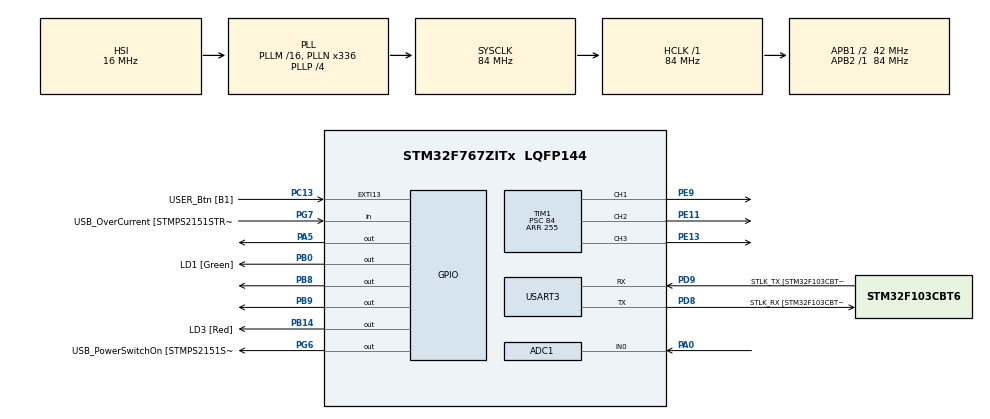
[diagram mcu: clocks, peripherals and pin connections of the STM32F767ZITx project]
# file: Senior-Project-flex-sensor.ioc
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ADC1.Channel-0\#ChannelRegularConversion=ADC_CHANNEL_0
ADC1.ContinuousConvMode=ENABLE
ADC1.EOCSelection=ADC_EOC_SEQ_CONV
ADC1.NbrOfConversionFlag=1
ADC1.Rank-0\#ChannelRegularConversion=1
ADC1.SamplingTime-0\#ChannelRegularConversion=ADC_SAMPLETIME_3CYCLES
ADC1.master=1
Mcu.Family=STM32F7
Mcu.Name=STM32F767ZITx
Mcu.Package=LQFP144
NVIC.PriorityGroup=NVIC_PRIORITYGROUP_4
PA0/WKUP.Signal=ADCx_IN0
PA1.GPIO_Label=RMII_REF_CLK [LAN8742A-CZ-TR_REFCLK0]
PA1.Signal=ETH_REF_CLK
PA10.GPIO_Label=USB_ID
PA10.Signal=USB_OTG_FS_ID
PA11.GPIO_Label=USB_DM
PA11.Signal=USB_OTG_FS_DM
PA12.GPIO_Label=USB_DP
PA12.Signal=USB_OTG_FS_DP
PA13.GPIO_Label=TMS
PA13.Signal=SYS_JTMS-SWDIO
PA14.GPIO_Label=TCK
PA14.Signal=SYS_JTCK-SWCLK
PA2.GPIO_Label=RMII_MDIO [LAN8742A-CZ-TR_MDIO]
PA2.Signal=ETH_MDIO
PA5.Signal=GPIO_Output
PA7.GPIO_Label=RMII_CRS_DV [LAN8742A-CZ-TR_CRS_DV]
PA7.Signal=ETH_CRS_DV
PA8.GPIO_Label=USB_SOF [TP1]
PA8.Signal=USB_OTG_FS_SOF
PA9.GPIO_Label=USB_VBUS
PA9.Signal=USB_OTG_FS_VBUS
PB0.GPIO_Label=LD1 [Green]
PB0.Signal=GPIO_Output
PB13.GPIO_Label=RMII_TXD1 [LAN8742A-CZ-TR_TXD1]
PB13.Signal=ETH_TXD1
PB14.GPIO_Label=LD3 [Red]
PB14.Signal=GPIO_Output
PB3.GPIO_Label=SW0
PB3.Signal=SYS_JTDO-SWO
PB8.Signal=GPIO_Output
PB9.Signal=GPIO_Output
PC1.GPIO_Label=RMII_MDC [LAN8742A-CZ-TR_MDC]
PC1.Signal=ETH_MDC
PC13.GPIO_Label=USER_Btn [B1]
PC13.Signal=GPXTI13
PC14/OSC32_IN.Signal=RCC_OSC32_IN
PC15/OSC32_OUT.Signal=RCC_OSC32_OUT
PC4.GPIO_Label=RMII_RXD0 [LAN8742A-CZ-TR_RXD0]
PC4.Signal=ETH_RXD0
PC5.GPIO_Label=RMII_RXD1 [LAN8742A-CZ-TR_RXD1]
PC5.Signal=ETH_RXD1
PD8.GPIO_Label=STLK_RX [STM32F103CBT6_PA3]
PD8.Mode=Asynchronous
PD8.Signal=USART3_TX
PD9.GPIO_Label=STLK_TX [STM32F103CBT6_PA2]
PD9.Mode=Asynchronous
PD9.Signal=USART3_RX
PE11.Signal=S_TIM1_CH2
PE13.Signal=S_TIM1_CH3
PE9.Signal=S_TIM1_CH1
PG11.GPIO_Label=RMII_TX_EN [LAN8742A-CZ-TR_TXEN]
PG11.Signal=ETH_TX_EN
PG13.GPIO_Label=RMII_TXD0 [LAN8742A-CZ-TR_TXD0]
PG13.Signal=ETH_TXD0
PG6.GPIO_Label=USB_PowerSwitchOn [STMPS2151STR_EN]
PG6.Signal=GPIO_Output
PG7.GPIO_Label=USB_OverCurrent [STMPS2151STR_FAULT]
PG7.Signal=GPIO_Input
PH0/OSC_IN.GPIO_Label=MCO [STM32F103CBT6_PA8]
PH0/OSC_IN.Signal=RCC_OSC_IN
PH1/OSC_OUT.Signal=RCC_OSC_OUT
ProjectManager.HeapSize=0x200
ProjectManager.StackSize=0x400
ProjectManager.TargetToolchain=STM32CubeIDE
RCC.48MHZClocksFreq_Value=24000000
RCC.AHBFreq_Value=84000000
RCC.APB1CLKDivider=RCC_HCLK_DIV2
RCC.APB1Freq_Value=42000000
RCC.APB1TimFreq_Value=84000000
RCC.APB2Freq_Value=84000000
RCC.APB2TimFreq_Value=84000000
RCC.CortexFreq_Value=84000000
RCC.HCLKFreq_Value=84000000
RCC.HSE_VALUE=16000000
RCC.HSI_VALUE=16000000
RCC.LSE_VALUE=32768
RCC.PLLMUL=RCC_PLL_MUL9
RCC.PLLN=336
RCC.PLLP=RCC_PLLP_DIV4
RCC.PRESCALERUSB=RCC_USBCLKSOURCE_PLL_DIV1_5
RCC.SYSCLKFreq_VALUE=84000000
RCC.SYSCLKSource=RCC_SYSCLKSOURCE_PLLCLK
RCC.SYSCLKSourceVirtual=RCC_SYSCLKSOURCE_PLLCLK
RCC.USBFreq_Value=168000000
RCC.VCOOutputFreq_Value=336000000
SH.ADCx_IN0.0=ADC1_IN0,IN0
SH.S_TIM1_CH1.0=TIM1_CH1,PWM Generation1 CH1
SH.S_TIM1_CH2.0=TIM1_CH2,PWM Generation2 CH2
SH.S_TIM1_CH3.0=TIM1_CH3,PWM Generation3 CH3
TIM1.Channel-PWM\ Generation1\ CH1=TIM_CHANNEL_1
TIM1.Channel-PWM\ Generation2\ CH2=TIM_CHANNEL_2
TIM1.Channel-PWM\ Generation3\ CH3=TIM_CHANNEL_3
TIM1.Period=255
TIM1.Prescaler=84
USART3.VirtualMode-Asynchronous=VM_ASYNC
VP_TIM1_VS_ClockSourceINT.Mode=Internal
board=NUCLEO-F767ZI

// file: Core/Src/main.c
/* USER CODE BEGIN Header */
/**
  ******************************************************************************
  * @file           : main.c
  * @brief          : Main program body
  ******************************************************************************
  * @attention
  *
  * Copyright (c) 2025 STMicroelectronics.
  * All rights reserved.
  *
  * This software is licensed under terms that can be found in the LICENSE file
  * in the root directory of this software component.
  * If no LICENSE file comes with this software, it is provided AS-IS.
  *
  ******************************************************************************
  */
/* USER CODE END Header */
#include "main.h"

/* USER CODE BEGIN Includes */
#include <string.h>
#include <stdio.h>

/* USER CODE END Includes */

ADC_HandleTypeDef hadc1;

TIM_HandleTypeDef htim1;

UART_HandleTypeDef huart3;

void SystemClock_Config(void);
static void MX_GPIO_Init(void);
static void MX_ADC1_Init(void);
static void MX_USART3_UART_Init(void);
static void MX_TIM1_Init(void);

/* USER CODE BEGIN 0 */
void rgb_color(uint8_t red, uint8_t green, uint8_t blue) // 8 bit = 256 values from 0-255 just like color code
  {
	  htim1.Instance->CCR1=red; //controls the first channel
	  htim1.Instance->CCR2=green;
	  htim1.Instance->CCR3=blue;
  }

/* USER CODE END 0 */

int main(void)
{

  /* MCU Configuration--------------------------------------------------------*/

  /* Reset of all peripherals, Initializes the Flash interface and the Systick. */
  HAL_Init();

  /* Configure the system clock */
  SystemClock_Config();

  /* Initialize all configured peripherals */
  MX_GPIO_Init();
  MX_ADC1_Init();
  MX_USART3_UART_Init();
  MX_TIM1_Init();
  /* USER CODE BEGIN 2 */
  HAL_TIM_PWM_Start(&htim1, TIM_CHANNEL_1); // starts timer 1 and htim1 is its name on line 44 and needs the channel number as well
  HAL_TIM_PWM_Start(&htim1, TIM_CHANNEL_2);
  HAL_TIM_PWM_Start(&htim1, TIM_CHANNEL_3);
  HAL_ADC_Start(&hadc1);
  char msg[20];
  uint16_t rawValue;
  float voltage;

  /* USER CODE END 2 */

  /* Infinite loop */
  while (1)
  {

    /* USER CODE BEGIN 3 */
	  HAL_ADC_PollForConversion(&hadc1, HAL_MAX_DELAY);
	  rawValue=HAL_ADC_GetValue(&hadc1);
	  voltage=((float)rawValue)/4095*3.3;

	  if(rawValue<1550)
	  {
		  /*HAL_GPIO_WritePin(GPIOB,GPIO_PIN_9,GPIO_PIN_SET);
		  HAL_GPIO_WritePin(GPIOB,GPIO_PIN_8,GPIO_PIN_RESET);
		  HAL_GPIO_WritePin(GPIOA,GPIO_PIN_5,GPIO_PIN_RESET);*/
		  rgb_color(255,0,0);
	  }
	  else if(rawValue>1700 && rawValue<1900)
	  {
		  /*HAL_GPIO_WritePin(GPIOB,GPIO_PIN_9,GPIO_PIN_RESET);
		  HAL_GPIO_WritePin(GPIOB,GPIO_PIN_8,GPIO_PIN_SET);
		  HAL_GPIO_WritePin(GPIOA,GPIO_PIN_5,GPIO_PIN_RESET);*/
		  rgb_color(255,255,255);
	  }
	  else if(rawValue>2120){
		 /* HAL_GPIO_WritePin(GPIOB,GPIO_PIN_8,GPIO_PIN_RESET);
		  HAL_GPIO_WritePin(GPIOB,GPIO_PIN_9,GPIO_PIN_RESET);
		  HAL_GPIO_WritePin(GPIOA,GPIO_PIN_5,GPIO_PIN_SET);*/
		  rgb_color(0,255,0);
		  HAL_Delay(2*1000);

	  }

	  sprintf(msg,"rawValue: %hu\r\n",rawValue);
	  HAL_UART_Transmit(&huart3,(uint8_t*)msg, strlen(msg),HAL_MAX_DELAY);

	  sprintf(msg,"voltage: %f\r\n",voltage);
	  HAL_UART_Transmit(&huart3,(uint8_t*)msg, strlen(msg),HAL_MAX_DELAY);

  }
  /* USER CODE END 3 */
}

void SystemClock_Config(void)
{
  RCC_OscInitTypeDef RCC_OscInitStruct = {0};
  RCC_ClkInitTypeDef RCC_ClkInitStruct = {0};

  /** Configure the main internal regulator output voltage
  */
  __HAL_RCC_PWR_CLK_ENABLE();
  __HAL_PWR_VOLTAGESCALING_CONFIG(PWR_REGULATOR_VOLTAGE_SCALE3);

  /** Initializes the RCC Oscillators according to the specified parameters
  * in the RCC_OscInitTypeDef structure.
  */
  RCC_OscInitStruct.OscillatorType = RCC_OSCILLATORTYPE_HSI;
  RCC_OscInitStruct.HSIState = RCC_HSI_ON;
  RCC_OscInitStruct.HSICalibrationValue = RCC_HSICALIBRATION_DEFAULT;
  RCC_OscInitStruct.PLL.PLLState = RCC_PLL_ON;
  RCC_OscInitStruct.PLL.PLLSource = RCC_PLLSOURCE_HSI;
  RCC_OscInitStruct.PLL.PLLM = 16;
  RCC_OscInitStruct.PLL.PLLN = 336;
  RCC_OscInitStruct.PLL.PLLP = RCC_PLLP_DIV4;
  RCC_OscInitStruct.PLL.PLLQ = 2;
  RCC_OscInitStruct.PLL.PLLR = 2;
  if (HAL_RCC_OscConfig(&RCC_OscInitStruct) != HAL_OK)
  {
    Error_Handler();
  }

  /** Initializes the CPU, AHB and APB buses clocks
  */
  RCC_ClkInitStruct.ClockType = RCC_CLOCKTYPE_HCLK|RCC_CLOCKTYPE_SYSCLK
                              |RCC_CLOCKTYPE_PCLK1|RCC_CLOCKTYPE_PCLK2;
  RCC_ClkInitStruct.SYSCLKSource = RCC_SYSCLKSOURCE_PLLCLK;
  RCC_ClkInitStruct.AHBCLKDivider = RCC_SYSCLK_DIV1;
  RCC_ClkInitStruct.APB1CLKDivider = RCC_HCLK_DIV2;
  RCC_ClkInitStruct.APB2CLKDivider = RCC_HCLK_DIV1;

  if (HAL_RCC_ClockConfig(&RCC_ClkInitStruct, FLASH_LATENCY_2) != HAL_OK)
  {
    Error_Handler();
  }
}

static void MX_ADC1_Init(void)
{

  ADC_ChannelConfTypeDef sConfig = {0};

  /** Configure the global features of the ADC (Clock, Resolution, Data Alignment and number of conversion)
  */
  hadc1.Instance = ADC1;
  hadc1.Init.ClockPrescaler = ADC_CLOCK_SYNC_PCLK_DIV4;
  hadc1.Init.Resolution = ADC_RESOLUTION_12B;
  hadc1.Init.ScanConvMode = ADC_SCAN_DISABLE;
  hadc1.Init.ContinuousConvMode = ENABLE;
  hadc1.Init.DiscontinuousConvMode = DISABLE;
  hadc1.Init.ExternalTrigConvEdge = ADC_EXTERNALTRIGCONVEDGE_NONE;
  hadc1.Init.ExternalTrigConv = ADC_SOFTWARE_START;
  hadc1.Init.DataAlign = ADC_DATAALIGN_RIGHT;
  hadc1.Init.NbrOfConversion = 1;
  hadc1.Init.DMAContinuousRequests = DISABLE;
  hadc1.Init.EOCSelection = ADC_EOC_SEQ_CONV;
  if (HAL_ADC_Init(&hadc1) != HAL_OK)
  {
    Error_Handler();
  }

  /** Configure for the selected ADC regular channel its corresponding rank in the sequencer and its sample time.
  */
  sConfig.Channel = ADC_CHANNEL_0;
  sConfig.Rank = ADC_REGULAR_RANK_1;
  sConfig.SamplingTime = ADC_SAMPLETIME_3CYCLES;
  if (HAL_ADC_ConfigChannel(&hadc1, &sConfig) != HAL_OK)
  {
    Error_Handler();
  }

}

static void MX_TIM1_Init(void)
{

  TIM_ClockConfigTypeDef sClockSourceConfig = {0};
  TIM_MasterConfigTypeDef sMasterConfig = {0};
  TIM_OC_InitTypeDef sConfigOC = {0};
  TIM_BreakDeadTimeConfigTypeDef sBreakDeadTimeConfig = {0};

  htim1.Instance = TIM1;
  htim1.Init.Prescaler = 84;
  htim1.Init.CounterMode = TIM_COUNTERMODE_UP;
  htim1.Init.Period = 255;
  htim1.Init.ClockDivision = TIM_CLOCKDIVISION_DIV1;
  htim1.Init.RepetitionCounter = 0;
  htim1.Init.AutoReloadPreload = TIM_AUTORELOAD_PRELOAD_DISABLE;
  if (HAL_TIM_Base_Init(&htim1) != HAL_OK)
  {
    Error_Handler();
  }
  sClockSourceConfig.ClockSource = TIM_CLOCKSOURCE_INTERNAL;
  if (HAL_TIM_ConfigClockSource(&htim1, &sClockSourceConfig) != HAL_OK)
  {
    Error_Handler();
  }
  if (HAL_TIM_PWM_Init(&htim1) != HAL_OK)
  {
    Error_Handler();
  }
  sMasterConfig.MasterOutputTrigger = TIM_TRGO_RESET;
  sMasterConfig.MasterOutputTrigger2 = TIM_TRGO2_RESET;
  sMasterConfig.MasterSlaveMode = TIM_MASTERSLAVEMODE_DISABLE;
  if (HAL_TIMEx_MasterConfigSynchronization(&htim1, &sMasterConfig) != HAL_OK)
  {
    Error_Handler();
  }
  sConfigOC.OCMode = TIM_OCMODE_PWM1;
  sConfigOC.Pulse = 0;
  sConfigOC.OCPolarity = TIM_OCPOLARITY_HIGH;
  sConfigOC.OCNPolarity = TIM_OCNPOLARITY_HIGH;
  sConfigOC.OCFastMode = TIM_OCFAST_DISABLE;
  sConfigOC.OCIdleState = TIM_OCIDLESTATE_RESET;
  sConfigOC.OCNIdleState = TIM_OCNIDLESTATE_RESET;
  if (HAL_TIM_PWM_ConfigChannel(&htim1, &sConfigOC, TIM_CHANNEL_1) != HAL_OK)
  {
    Error_Handler();
  }
  if (HAL_TIM_PWM_ConfigChannel(&htim1, &sConfigOC, TIM_CHANNEL_2) != HAL_OK)
  {
    Error_Handler();
  }
  if (HAL_TIM_PWM_ConfigChannel(&htim1, &sConfigOC, TIM_CHANNEL_3) != HAL_OK)
  {
    Error_Handler();
  }
  sBreakDeadTimeConfig.OffStateRunMode = TIM_OSSR_DISABLE;
  sBreakDeadTimeConfig.OffStateIDLEMode = TIM_OSSI_DISABLE;
  sBreakDeadTimeConfig.LockLevel = TIM_LOCKLEVEL_OFF;
  sBreakDeadTimeConfig.DeadTime = 0;
  sBreakDeadTimeConfig.BreakState = TIM_BREAK_DISABLE;
  sBreakDeadTimeConfig.BreakPolarity = TIM_BREAKPOLARITY_HIGH;
  sBreakDeadTimeConfig.BreakFilter = 0;
  sBreakDeadTimeConfig.Break2State = TIM_BREAK2_DISABLE;
  sBreakDeadTimeConfig.Break2Polarity = TIM_BREAK2POLARITY_HIGH;
  sBreakDeadTimeConfig.Break2Filter = 0;
  sBreakDeadTimeConfig.AutomaticOutput = TIM_AUTOMATICOUTPUT_DISABLE;
  if (HAL_TIMEx_ConfigBreakDeadTime(&htim1, &sBreakDeadTimeConfig) != HAL_OK)
  {
    Error_Handler();
  }
  HAL_TIM_MspPostInit(&htim1);

}

static void MX_USART3_UART_Init(void)
{

  huart3.Instance = USART3;
  huart3.Init.BaudRate = 115200;
  huart3.Init.WordLength = UART_WORDLENGTH_8B;
  huart3.Init.StopBits = UART_STOPBITS_1;
  huart3.Init.Parity = UART_PARITY_NONE;
  huart3.Init.Mode = UART_MODE_TX_RX;
  huart3.Init.HwFlowCtl = UART_HWCONTROL_NONE;
  huart3.Init.OverSampling = UART_OVERSAMPLING_16;
  huart3.Init.OneBitSampling = UART_ONE_BIT_SAMPLE_DISABLE;
  huart3.AdvancedInit.AdvFeatureInit = UART_ADVFEATURE_NO_INIT;
  if (HAL_UART_Init(&huart3) != HAL_OK)
  {
    Error_Handler();
  }

}

static void MX_GPIO_Init(void)
{
  GPIO_InitTypeDef GPIO_InitStruct = {0};

  /* GPIO Ports Clock Enable */
  __HAL_RCC_GPIOC_CLK_ENABLE();
  __HAL_RCC_GPIOH_CLK_ENABLE();
  __HAL_RCC_GPIOA_CLK_ENABLE();
  __HAL_RCC_GPIOB_CLK_ENABLE();
  __HAL_RCC_GPIOE_CLK_ENABLE();
  __HAL_RCC_GPIOD_CLK_ENABLE();
  __HAL_RCC_GPIOG_CLK_ENABLE();

  /*Configure GPIO pin Output Level */
  HAL_GPIO_WritePin(GPIOA, GPIO_PIN_5, GPIO_PIN_RESET);

  /*Configure GPIO pin Output Level */
  HAL_GPIO_WritePin(GPIOB, LD1_Pin|LD3_Pin|GPIO_PIN_8|GPIO_PIN_9, GPIO_PIN_RESET);

  /*Configure GPIO pin Output Level */
  HAL_GPIO_WritePin(USB_PowerSwitchOn_GPIO_Port, USB_PowerSwitchOn_Pin, GPIO_PIN_RESET);

  /*Configure GPIO pin : USER_Btn_Pin */
  GPIO_InitStruct.Pin = USER_Btn_Pin;
  GPIO_InitStruct.Mode = GPIO_MODE_IT_RISING;
  GPIO_InitStruct.Pull = GPIO_NOPULL;
  HAL_GPIO_Init(USER_Btn_GPIO_Port, &GPIO_InitStruct);

  /*Configure GPIO pins : RMII_MDC_Pin RMII_RXD0_Pin RMII_RXD1_Pin */
  GPIO_InitStruct.Pin = RMII_MDC_Pin|RMII_RXD0_Pin|RMII_RXD1_Pin;
  GPIO_InitStruct.Mode = GPIO_MODE_AF_PP;
  GPIO_InitStruct.Pull = GPIO_NOPULL;
  GPIO_InitStruct.Speed = GPIO_SPEED_FREQ_VERY_HIGH;
  GPIO_InitStruct.Alternate = GPIO_AF11_ETH;
  HAL_GPIO_Init(GPIOC, &GPIO_InitStruct);

  /*Configure GPIO pins : RMII_REF_CLK_Pin RMII_MDIO_Pin RMII_CRS_DV_Pin */
  GPIO_InitStruct.Pin = RMII_REF_CLK_Pin|RMII_MDIO_Pin|RMII_CRS_DV_Pin;
  GPIO_InitStruct.Mode = GPIO_MODE_AF_PP;
  GPIO_InitStruct.Pull = GPIO_NOPULL;
  GPIO_InitStruct.Speed = GPIO_SPEED_FREQ_VERY_HIGH;
  GPIO_InitStruct.Alternate = GPIO_AF11_ETH;
  HAL_GPIO_Init(GPIOA, &GPIO_InitStruct);

  /*Configure GPIO pin : PA5 */
  GPIO_InitStruct.Pin = GPIO_PIN_5;
  GPIO_InitStruct.Mode = GPIO_MODE_OUTPUT_PP;
  GPIO_InitStruct.Pull = GPIO_NOPULL;
  GPIO_InitStruct.Speed = GPIO_SPEED_FREQ_LOW;
  HAL_GPIO_Init(GPIOA, &GPIO_InitStruct);

  /*Configure GPIO pins : LD1_Pin LD3_Pin PB8 PB9 */
  GPIO_InitStruct.Pin = LD1_Pin|LD3_Pin|GPIO_PIN_8|GPIO_PIN_9;
  GPIO_InitStruct.Mode = GPIO_MODE_OUTPUT_PP;
  GPIO_InitStruct.Pull = GPIO_NOPULL;
  GPIO_InitStruct.Speed = GPIO_SPEED_FREQ_LOW;
  HAL_GPIO_Init(GPIOB, &GPIO_InitStruct);

  /*Configure GPIO pin : RMII_TXD1_Pin */
  GPIO_InitStruct.Pin = RMII_TXD1_Pin;
  GPIO_InitStruct.Mode = GPIO_MODE_AF_PP;
  GPIO_InitStruct.Pull = GPIO_NOPULL;
  GPIO_InitStruct.Speed = GPIO_SPEED_FREQ_VERY_HIGH;
  GPIO_InitStruct.Alternate = GPIO_AF11_ETH;
  HAL_GPIO_Init(RMII_TXD1_GPIO_Port, &GPIO_InitStruct);

  /*Configure GPIO pin : USB_PowerSwitchOn_Pin */
  GPIO_InitStruct.Pin = USB_PowerSwitchOn_Pin;
  GPIO_InitStruct.Mode = GPIO_MODE_OUTPUT_PP;
  GPIO_InitStruct.Pull = GPIO_NOPULL;
  GPIO_InitStruct.Speed = GPIO_SPEED_FREQ_LOW;
  HAL_GPIO_Init(USB_PowerSwitchOn_GPIO_Port, &GPIO_InitStruct);

  /*Configure GPIO pin : USB_OverCurrent_Pin */
  GPIO_InitStruct.Pin = USB_OverCurrent_Pin;
  GPIO_InitStruct.Mode = GPIO_MODE_INPUT;
  GPIO_InitStruct.Pull = GPIO_NOPULL;
  HAL_GPIO_Init(USB_OverCurrent_GPIO_Port, &GPIO_InitStruct);

  /*Configure GPIO pins : USB_SOF_Pin USB_ID_Pin USB_DM_Pin USB_DP_Pin */
  GPIO_InitStruct.Pin = USB_SOF_Pin|USB_ID_Pin|USB_DM_Pin|USB_DP_Pin;
  GPIO_InitStruct.Mode = GPIO_MODE_AF_PP;
  GPIO_InitStruct.Pull = GPIO_NOPULL;
  GPIO_InitStruct.Speed = GPIO_SPEED_FREQ_VERY_HIGH;
  GPIO_InitStruct.Alternate = GPIO_AF10_OTG_FS;
  HAL_GPIO_Init(GPIOA, &GPIO_InitStruct);

  /*Configure GPIO pin : USB_VBUS_Pin */
  GPIO_InitStruct.Pin = USB_VBUS_Pin;
  GPIO_InitStruct.Mode = GPIO_MODE_INPUT;
  GPIO_InitStruct.Pull = GPIO_NOPULL;
  HAL_GPIO_Init(USB_VBUS_GPIO_Port, &GPIO_InitStruct);

  /*Configure GPIO pins : RMII_TX_EN_Pin RMII_TXD0_Pin */
  GPIO_InitStruct.Pin = RMII_TX_EN_Pin|RMII_TXD0_Pin;
  GPIO_InitStruct.Mode = GPIO_MODE_AF_PP;
  GPIO_InitStruct.Pull = GPIO_NOPULL;
  GPIO_InitStruct.Speed = GPIO_SPEED_FREQ_VERY_HIGH;
  GPIO_InitStruct.Alternate = GPIO_AF11_ETH;
  HAL_GPIO_Init(GPIOG, &GPIO_InitStruct);

}

void Error_Handler(void)
{
  __disable_irq();
  while (1)
  {
  }
}
